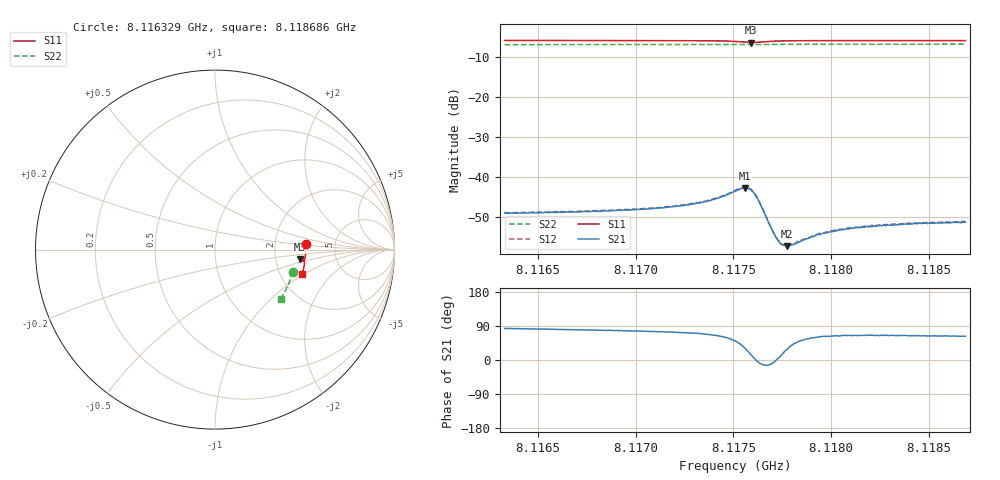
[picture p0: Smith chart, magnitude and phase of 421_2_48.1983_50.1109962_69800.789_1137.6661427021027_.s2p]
#  HZ  S  RI  R  50.00
! Rohde & Schwarz Vector Network Analyzer
! Rohde-Schwarz,ZNB20-2Port,1311601062101988,3.16
! Created: UTC 3/20/2024, 11:54:56 AM
! freq[Hz]  re:S11  im:S11  re:S21  im:S21  re:S12  im:S12  re:S22  im:S22
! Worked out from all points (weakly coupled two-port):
!   401 points, 8.116329 GHz to 8.118686 GHz, reference 50 ohm
!   highest |S21| = -42.65 dB at 8.117561 GHz (marker M1); lowest = -57.2 dB at 8.117773 GHz (marker M2)
!   lowest |S11| = -6.4 dB at 8.11759 GHz (marker M3), VSWR 2.83, Z = 138 - j19.7 ohm
!   |S11| at or under -10 dB: nowhere
!   |S22| runs from -6.9 to -6.8 dB; largest |S21 - S12| = 0.00019
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8.1163294e9  0.506 0.0339  0.000435 0.00355  0.00045 0.00362  0.4324 -0.1235
8.1167241e9  0.5064 0.00378  0.000684 0.00368  0.00073 0.00373  0.4251 -0.1499
8.1171189e9  0.5048 -0.0271  0.00106 0.00401  0.00112 0.00405  0.4161 -0.1761
8.1172309e9  0.5035 -0.0366  0.00132 0.00418  0.0014 0.00429  0.4133 -0.1832
8.1173546e9  0.5011 -0.0478  0.00183 0.0046  0.00186 0.00466  0.4098 -0.1914
8.117443e9  0.4967 -0.0571  0.00271 0.00508  0.00282 0.00512  0.4073 -0.1971
8.1175078e9  0.4893 -0.0633  0.00426 0.00516  0.0044 0.00526  0.4051 -0.2012
8.1175608e9  0.4784 -0.062  0.00638 0.00369  0.00653 0.00371  0.4033 -0.2044
8.1175903e9  0.475 -0.0549  0.00671 0.00162  0.00689 0.00159  0.4022 -0.2057
8.117608e9  0.4765 -0.0501  0.00619 0.000359  0.00632 0.000285  0.402 -0.2067
8.1176256e9  0.4803 -0.0469  0.00524 -0.000469  0.00534 -0.000525  0.4017 -0.2074
8.1176905e9  0.493 -0.0496  0.00236 -0.00049  0.00234 -0.000478  0.4003 -0.2117
8.1177199e9  0.4958 -0.0534  0.00175 1.7e-05  0.00177 -4.38e-05  0.3995 -0.2137
8.1177435e9  0.4971 -0.0565  0.00143 0.000313  0.00148 0.000303  0.3988 -0.2152
8.1177612e9  0.4977 -0.0585  0.00131 0.000544  0.00136 0.000524  0.3983 -0.2163
8.1177729e9  0.4981 -0.0601  0.00123 0.000646  0.00125 0.000668  0.398 -0.2172
8.1178083e9  0.4986 -0.0642  0.00106 0.000992  0.00113 0.00103  0.3969 -0.2194
8.1179026e9  0.4987 -0.0734  0.000933 0.00156  0.000987 0.00158  0.3938 -0.2254
8.1179438e9  0.4985 -0.0772  0.000922 0.00171  0.000962 0.00176  0.3926 -0.228
8.1180499e9  0.4973 -0.0861  0.000967 0.00199  0.000987 0.00202  0.3891 -0.2348
8.1182973e9  0.4937 -0.1056  0.00108 0.00229  0.00113 0.00235  0.3803 -0.2497
8.1186862e9  0.4865 -0.1344  0.00127 0.00245  0.0013 0.00253  0.3656 -0.2726
